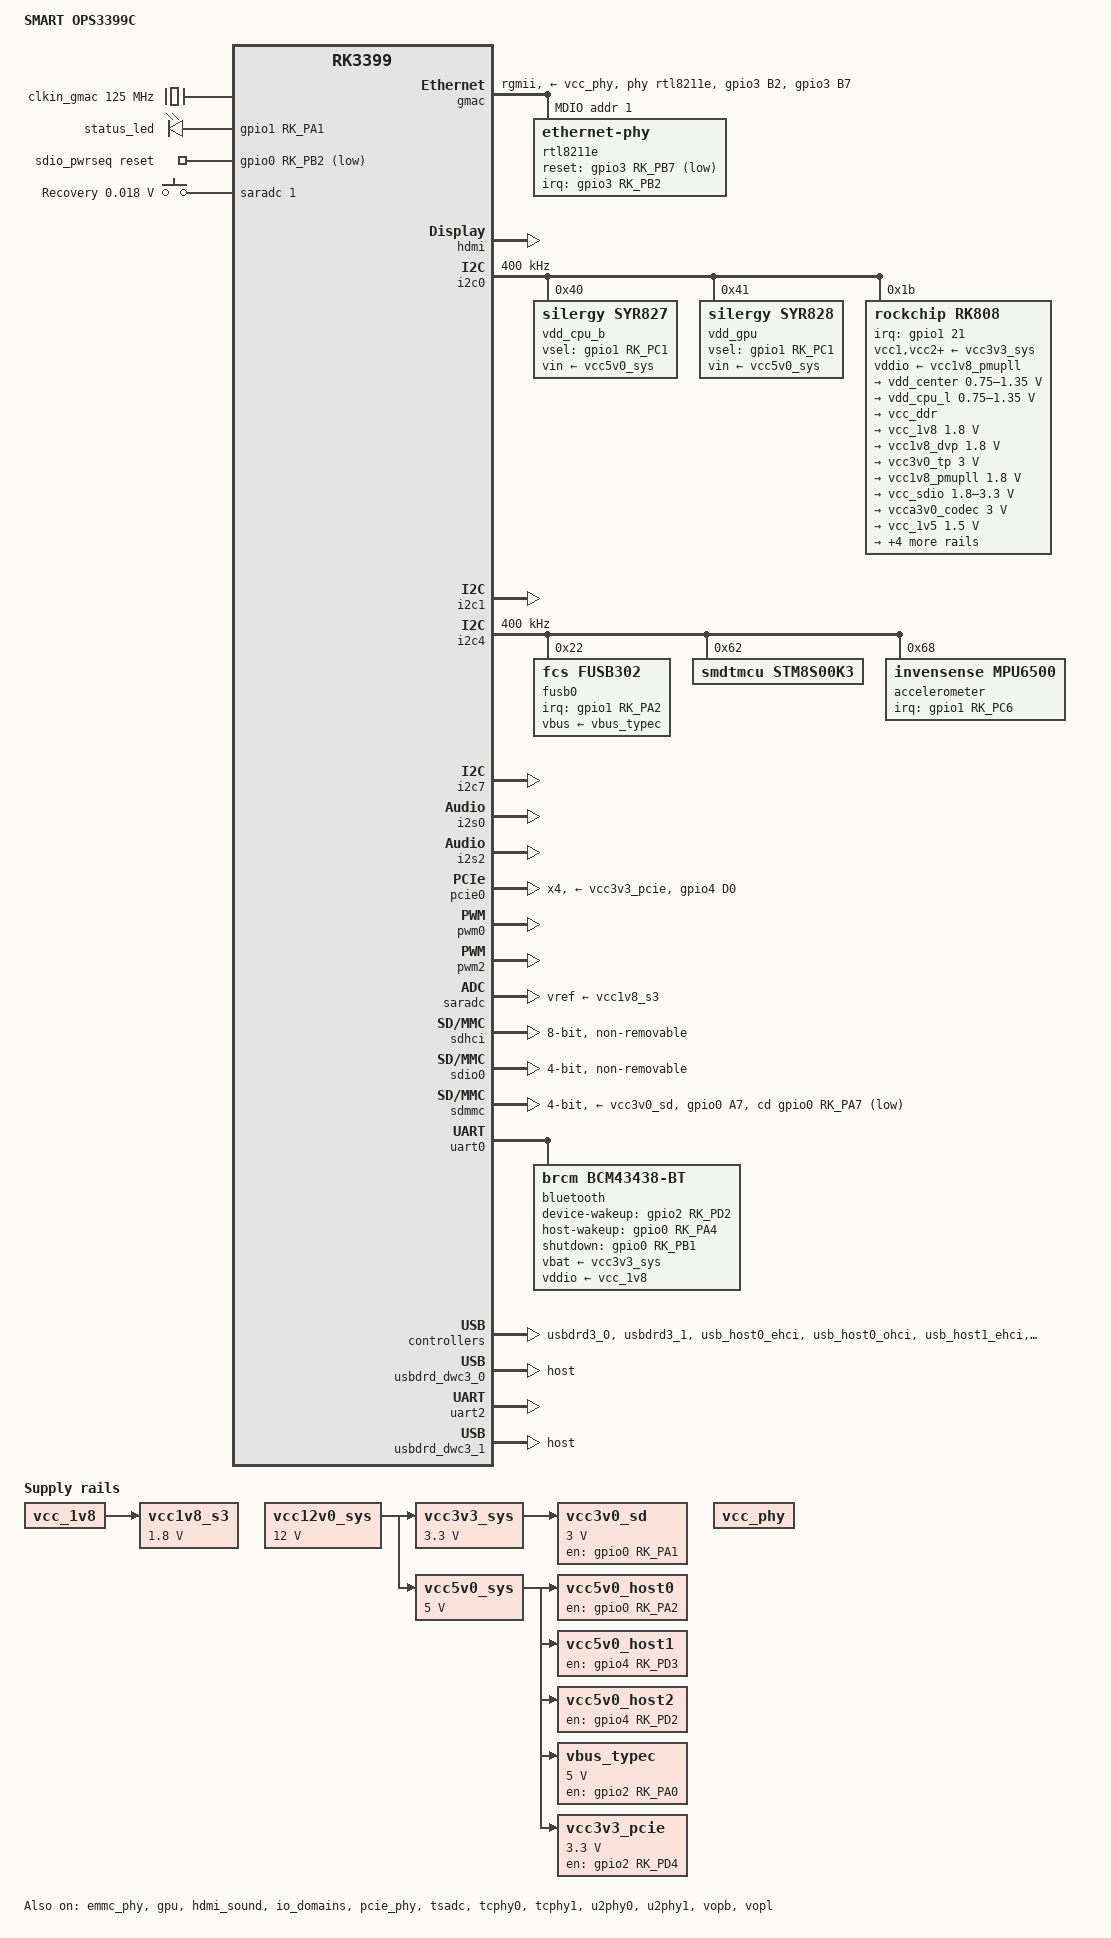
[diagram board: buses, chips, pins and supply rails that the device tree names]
// SPDX-License-Identifier: (GPL-2.0+ OR MIT)

/dts-v1/;
#include <dt-bindings/input/linux-event-codes.h>
#include "rk3399.dtsi"

/ {
	model = "SMART OPS3399C";
	compatible = "SMART,OPS3399C", "rockchip,rk3399";
	
	aliases {
		ethernet0 = &gmac;
		mmc0 = &sdio0;
		mmc1 = &sdmmc;
		mmc2 = &sdhci;
	};

	chosen {
		stdout-path = "serial2:1500000n8";
	};

	clkin_gmac: external-gmac-clock {
		compatible = "fixed-clock";
		clock-frequency = <125000000>;
		clock-output-names = "clkin_gmac";
		#clock-cells = <0>;
	};
	
	vcc12v0_sys: regulator-vcc12v0-sys {
		compatible = "regulator-fixed";
		regulator-always-on;
		regulator-boot-on;
		regulator-max-microvolt = <12000000>;
		regulator-min-microvolt = <12000000>;
		regulator-name = "vcc12v0_sys";
	};

  vcc5v0_host0: vcc5v0-host-regulator1 {
		compatible = "regulator-fixed";
		enable-active-high;
		gpio = <&gpio0 RK_PA2 GPIO_ACTIVE_HIGH>;
		pinctrl-names = "default";
		pinctrl-0 = <&usb_host0_en>;
		regulator-name = "vcc5v0_host";
		regulator-always-on;
		vin-supply = <&vcc5v0_sys>;
	};


	vcc5v0_host1: vcc5v0-host-regulator2 {
		compatible = "regulator-fixed";
		enable-active-high;
		gpio = <&gpio4 RK_PD3 GPIO_ACTIVE_HIGH>;
		pinctrl-names = "default";
		pinctrl-0 = <&usb_host1_en>;
		regulator-name = "vcc5v0_host";
		regulator-always-on;
		vin-supply = <&vcc5v0_sys>;
	};
  
  vcc5v0_host2: vcc5v0-host-regulator0 {
		compatible = "regulator-fixed";
		enable-active-high;
		gpio = <&gpio4 RK_PD2 GPIO_ACTIVE_HIGH>;
		pinctrl-names = "default";
		pinctrl-0 = <&usb_host2_en>;
		regulator-name = "vcc5v0_host";
		regulator-always-on;
		vin-supply = <&vcc5v0_sys>;
	};

	vcc3v3_sys: regulator-vcc3v3-sys {
		compatible = "regulator-fixed";
		regulator-always-on;
		regulator-boot-on;
		regulator-min-microvolt = <3300000>;
		regulator-max-microvolt = <3300000>;
		vin-supply = <&vcc12v0_sys>;
		regulator-name = "vcc3v3_sys";
	};

	vcc5v0_sys: regulator-vcc5v0-sys {
		compatible = "regulator-fixed";
		regulator-always-on;
		regulator-boot-on;
		regulator-min-microvolt = <5000000>;
		regulator-max-microvolt = <5000000>;
		regulator-name = "vcc5v0_sys";
		vin-supply = <&vcc12v0_sys>;
	};
	
	/* switched by pmic_sleep */
	vcc1v8_s3: regulator-vcc1v8-s3 {
		compatible = "regulator-fixed";
		regulator-always-on;
		regulator-boot-on;
		regulator-min-microvolt = <1800000>;
		regulator-max-microvolt = <1800000>;
		regulator-name = "vcc1v8_s3";
		vin-supply = <&vcc_1v8>;
	};

	vcc3v0_sd: regulator-vcc3v0-sd {
		compatible = "regulator-fixed";
		enable-active-high;
		gpios = <&gpio0 RK_PA1 GPIO_ACTIVE_HIGH>;
		pinctrl-names = "default";
		regulator-always-on;
		regulator-min-microvolt = <3000000>;
		regulator-max-microvolt = <3000000>;
		pinctrl-0 = <&vcc_sd_h>;
		regulator-name = "vcc3v0_sd";
		vin-supply = <&vcc3v3_sys>;
	};
	
	vcc_phy: regulator-vcc-phy {
		compatible = "regulator-fixed";
		regulator-name = "vcc_phy";
		regulator-always-on;
		regulator-boot-on;
	};

	vbus_typec: regulator-vbus-typec {
		compatible = "regulator-fixed";
		regulator-min-microvolt = <5000000>;
		regulator-max-microvolt = <5000000>;
		enable-active-high;
		gpios = <&gpio2 RK_PA0 GPIO_ACTIVE_HIGH>;
		pinctrl-0 = <&otg_vbus_en>;
		vin-supply = <&vcc5v0_sys>;
		regulator-name = "vbus_typec";
	};

	vcc3v3_pcie: regulator-vcc3v3-pcie {
		compatible = "regulator-fixed";
		enable-active-high;
		gpio = <&gpio2 RK_PD4 GPIO_ACTIVE_HIGH>;
		pinctrl-names = "default";
		pinctrl-0 = <&vcc3v3_pcie_en>;
		regulator-name = "vcc3v3_pcie";
		regulator-always-on;
		regulator-boot-on;
		regulator-min-microvolt = <3300000>;
		regulator-max-microvolt = <3300000>;
		vin-supply = <&vcc5v0_sys>;
	};

	leds: gpio-leds {
		compatible = "gpio-leds";
		pinctrl-names = "default";
		pinctrl-0 = <&status_led_pin>;

		status_led: led-0 {
			gpios = <&gpio1 RK_PA1 GPIO_ACTIVE_HIGH>;
			label = "status_led";
			linux,default-trigger = "heartbeat";
		};
	};

	sdio_pwrseq: sdio-pwrseq {
		compatible = "mmc-pwrseq-simple";
		clocks = <&rk808 1>;
		clock-names = "ext_clock";
		pinctrl-names = "default";
		pinctrl-0 = <&wifi_reg_on_h>;
		reset-gpios = <&gpio0 RK_PB2 GPIO_ACTIVE_LOW>;
	};
	
	adc-keys {
		compatible = "adc-keys";
		io-channels = <&saradc 1>;
		io-channel-names = "buttons";
		keyup-threshold-microvolt = <1800000>;
		poll-interval = <100>;

		button-recovery {
			label = "Recovery";
			linux,code = <KEY_VENDOR>;
			press-threshold-microvolt = <18000>;
		};
	};
};

&cpu_thermal {
	trips {
		cpu_warm: cpu_warm {
			temperature = <55000>;
			hysteresis = <2000>;
			type = "active";
		};

		cpu_hot: cpu_hot {
			temperature = <65000>;
			hysteresis = <2000>;
			type = "active";
		};
	};
};

&cpu_b0 {
	cpu-supply = <&vdd_cpu_b>;
};

&cpu_b1 {
	cpu-supply = <&vdd_cpu_b>;
};

&cpu_l0 {
	cpu-supply = <&vdd_cpu_l>;
};

&cpu_l1 {
	cpu-supply = <&vdd_cpu_l>;
};

&cpu_l2 {
	cpu-supply = <&vdd_cpu_l>;
};

&cpu_l3 {
	cpu-supply = <&vdd_cpu_l>;
};

&emmc_phy {
	rockchip,enable-strobe-pulldown;
	status = "okay";
};

&gmac {
	assigned-clock-parents = <&clkin_gmac>;
	assigned-clocks = <&cru SCLK_RMII_SRC>;
	clock_in_out = "input";
	pinctrl-names = "default";
	pinctrl-0 = <&rgmii_pins>, <&phy_intb>, <&phy_rstb>;
	phy-handle = <&rtl8211e>;
	phy-mode = "rgmii";
	phy-supply = <&vcc_phy>;
	tx_delay = <0x28>;
	rx_delay = <0x11>;
	status = "okay";

	mdio {
		compatible = "snps,dwmac-mdio";
		#address-cells = <1>;
		#size-cells = <0>;

		rtl8211e: ethernet-phy@1 {
			reg = <1>;
			interrupt-parent = <&gpio3>;
			interrupts = <RK_PB2 IRQ_TYPE_LEVEL_LOW>;
			reset-assert-us = <10000>;
			reset-deassert-us = <30000>;
			reset-gpios = <&gpio3 RK_PB7 GPIO_ACTIVE_LOW>;
		};
	};
};

&gpu {
	mali-supply = <&vdd_gpu>;
	status = "okay";
};

&hdmi {
        pinctrl-names = "default";
        pinctrl-0 = <&hdmi_i2c_xfer>, <&hdmi_cec>;
        status = "okay";
};



&hdmi_sound {
	status = "okay";
};


&i2c0 {
	clock-frequency = <400000>;
	i2c-scl-rising-time-ns = <160>;
	i2c-scl-falling-time-ns = <30>;
	status = "okay";

	vdd_cpu_b: regulator@40 {
		compatible = "silergy,syr827";
		reg = <0x40>;
		fcs,suspend-voltage-selector = <1>;
		pinctrl-names = "default";
		pinctrl-0 = <&cpu_b_sleep>;
		vsel-gpios = <&gpio1 RK_PC1 GPIO_ACTIVE_HIGH>;
		regulator-always-on;
		regulator-boot-on;
		regulator-min-microvolt = <712500>;
		regulator-max-microvolt = <1500000>;
		regulator-name = "vdd_cpu_b";
		regulator-ramp-delay = <1000>;
		vin-supply = <&vcc5v0_sys>;

		regulator-state-mem {
			regulator-off-in-suspend;
		};
	};

	vdd_gpu: regulator@41 {
		compatible = "silergy,syr828";
		reg = <0x41>;
		fcs,suspend-voltage-selector = <1>;
		pinctrl-names = "default";
		pinctrl-0 = <&gpu_sleep>;
		vsel-gpios = <&gpio1 RK_PC1 GPIO_ACTIVE_HIGH>;
		regulator-always-on;
		regulator-boot-on;
		regulator-min-microvolt = <712500>;
		regulator-max-microvolt = <1500000>;
		regulator-name = "vdd_gpu";
		regulator-ramp-delay = <1000>;
		vin-supply = <&vcc5v0_sys>;

		regulator-state-mem {
			regulator-off-in-suspend;
		};
	};

	rk808: pmic@1b {
		compatible = "rockchip,rk808";
		reg = <0x1b>;
		clock-output-names = "xin32k", "k808-clkout2";
		#clock-cells = <1>;
		interrupt-parent = <&gpio1>;
		interrupts = <21 IRQ_TYPE_LEVEL_LOW>;
		pinctrl-names = "default";
		pinctrl-0 = <&pmic_int_l>, <&pmic_dvs2>;
		system-power-controller;
		wakeup-source;

		vcc1-supply = <&vcc3v3_sys>;
		vcc2-supply = <&vcc3v3_sys>;
		vcc3-supply = <&vcc3v3_sys>;
		vcc4-supply = <&vcc3v3_sys>;
		vcc6-supply = <&vcc3v3_sys>;
		vcc7-supply = <&vcc3v3_sys>;
		vcc8-supply = <&vcc3v3_sys>;
		vcc9-supply = <&vcc3v3_sys>;
		vcc10-supply = <&vcc3v3_sys>;
		vcc11-supply = <&vcc3v3_sys>;
		vcc12-supply = <&vcc3v3_sys>;
		vddio-supply = <&vcc1v8_pmupll>;

		regulators {
			vdd_center: DCDC_REG1 {
				regulator-always-on;
				regulator-boot-on;
				regulator-min-microvolt = <750000>;
				regulator-max-microvolt = <1350000>;
				regulator-name = "vdd_center";
				regulator-ramp-delay = <6001>;

				regulator-state-mem {
					regulator-off-in-suspend;
				};
			};

			vdd_cpu_l: DCDC_REG2 {
				regulator-always-on;
				regulator-boot-on;
				regulator-min-microvolt = <750000>;
				regulator-max-microvolt = <1350000>;
				regulator-name = "vdd_cpu_l";
				regulator-ramp-delay = <6001>;

				regulator-state-mem {
					regulator-off-in-suspend;
				};
			};

			vcc_ddr: DCDC_REG3 {
				regulator-always-on;
				regulator-boot-on;
				regulator-name = "vcc_ddr";

				regulator-state-mem {
					regulator-on-in-suspend;
				};
			};

			vcc_1v8: DCDC_REG4 {
				regulator-always-on;
				regulator-boot-on;
				regulator-min-microvolt = <1800000>;
				regulator-max-microvolt = <1800000>;
				regulator-name = "vcc_1v8";

				regulator-state-mem {
					regulator-on-in-suspend;
					regulator-suspend-microvolt = <1800000>;
				};
			};

			vcc1v8_dvp: LDO_REG1 {
				regulator-always-on;
				regulator-boot-on;
				regulator-min-microvolt = <1800000>;
				regulator-max-microvolt = <1800000>;
				regulator-name = "vcc1v8_dvp";

				regulator-state-mem {
					regulator-off-in-suspend;
				};
			};

			vcc3v0_tp: LDO_REG2 {
				regulator-always-on;
				regulator-boot-on;
				regulator-min-microvolt = <3000000>;
				regulator-max-microvolt = <3000000>;
				regulator-name = "vcc3v0_tp";

				regulator-state-mem {
					regulator-off-in-suspend;
				};
			};

			vcc1v8_pmupll: LDO_REG3 {
				regulator-always-on;
				regulator-boot-on;
				regulator-min-microvolt = <1800000>;
				regulator-max-microvolt = <1800000>;
				regulator-name = "vcc1v8_pmupll";

				regulator-state-mem {
					regulator-on-in-suspend;
					regulator-suspend-microvolt = <1800000>;
				};
			};

			vcc_sdio: LDO_REG4 {
				regulator-always-on;
				regulator-boot-on;
				regulator-min-microvolt = <1800000>;
				regulator-max-microvolt = <3300000>;
				regulator-name = "vcc_sdio";

				regulator-state-mem {
					regulator-on-in-suspend;
					regulator-suspend-microvolt = <3000000>;
				};
			};

			vcca3v0_codec: LDO_REG5 {
				regulator-always-on;
				regulator-boot-on;
				regulator-min-microvolt = <3000000>;
				regulator-max-microvolt = <3000000>;
				regulator-name = "vcca3v0_codec";

				regulator-state-mem {
					regulator-off-in-suspend;
				};
			};

			vcc_1v5: LDO_REG6 {
				regulator-always-on;
				regulator-boot-on;
				regulator-min-microvolt = <1500000>;
				regulator-max-microvolt = <1500000>;
				regulator-name = "vcc_1v5";

				regulator-state-mem {
					regulator-on-in-suspend;
					regulator-suspend-microvolt = <1500000>;
				};
			};

			vcca1v8_codec: LDO_REG7 {
				regulator-always-on;
				regulator-boot-on;
				regulator-min-microvolt = <1800000>;
				regulator-max-microvolt = <1800000>;
				regulator-name = "vcca1v8_codec";

				regulator-state-mem {
					regulator-off-in-suspend;
				};
			};

			vcc_3v0: LDO_REG8 {
				regulator-always-on;
				regulator-boot-on;
				regulator-min-microvolt = <3000000>;
				regulator-max-microvolt = <3000000>;
				regulator-name = "vcc_3v0";

				regulator-state-mem {
					regulator-on-in-suspend;
					regulator-suspend-microvolt = <3000000>;
				};
			};

			vcc3v3_s3: SWITCH_REG1 {
				regulator-always-on;
				regulator-boot-on;
				regulator-name = "vcc3v3_s3";

				regulator-state-mem {
					regulator-off-in-suspend;
				};
			};

			vcc3v3_s0: SWITCH_REG2 {
				regulator-always-on;
				regulator-boot-on;
				regulator-name = "vcc3v3_s0";

				regulator-state-mem {
					regulator-off-in-suspend;
				};
			};
		};
	};
};

&i2c1 {
	i2c-scl-rising-time-ns = <300>;
	i2c-scl-falling-time-ns = <15>;
	status = "okay";
};

&i2c4 {
	clock-frequency = <400000>;
	i2c-scl-rising-time-ns = <160>;
	i2c-scl-falling-time-ns = <30>;
	status = "okay";

	fusb0: typec-portc@22 {
		compatible = "fcs,fusb302";
		reg = <0x22>;
		interrupt-parent = <&gpio1>;
		interrupts = <RK_PA2 IRQ_TYPE_LEVEL_LOW>;
		pinctrl-names = "default";
		pinctrl-0 = <&fusb0_int>;
		vbus-supply = <&vbus_typec>;
	};

	smdtmcu@62 {
		compatible = "smdtmcu,STM8S00K3";
		reg = <0x62>;
		status = "okay";
	};

	accelerometer@68 {
		compatible = "invensense,mpu6500";
		reg = <0x68>;
		interrupt-parent = <&gpio1>;
		interrupts = <RK_PC6 IRQ_TYPE_EDGE_RISING>;
	};
};

&i2c7 {
	status = "okay";
};

&i2s0 {
	rockchip,playback-channels = <8>;
	rockchip,capture-channels = <8>;
	status = "okay";
};

&i2s2 {
	status = "okay";
};

&io_domains {
	bt656-supply = <&vcc_3v0>;
	audio-supply = <&vcca1v8_codec>;
	sdmmc-supply = <&vcc_sdio>;
	gpio1830-supply = <&vcc_3v0>;
	status = "okay";
};

&pcie_phy {
        status = "okay";
};

&pcie0 {
	ep-gpios = <&gpio1 RK_PC7 GPIO_ACTIVE_HIGH>;
	num-lanes = <4>;
	pinctrl-0 = <&pcie_clkreqn>;
	pinctrl-names = "default";
	vpcie3v3-supply = <&vcc3v3_pcie>;
	status = "okay";
};


&pinctrl {
	fusb30x {
		fusb0_int: fusb0-int {
			rockchip,pins = <1 RK_PA2 RK_FUNC_GPIO &pcfg_pull_up>;
		};
	};
  
  vcc_sd {
			vcc_sd_h: vcc-sd-h {
				rockchip,pins = <0 RK_PA1 RK_FUNC_GPIO &pcfg_pull_up>;
			};
		};

	gpio-leds {
		status_led_pin: status-led-pin {
			rockchip,pins = <1 RK_PA1 RK_FUNC_GPIO &pcfg_pull_none>;
		};
	};

	gmac {
		phy_intb: phy-intb {
			rockchip,pins = <3 RK_PB2 RK_FUNC_GPIO &pcfg_pull_up>;
		};

		phy_rstb: phy-rstb {
			rockchip,pins = <3 RK_PB7 RK_FUNC_GPIO &pcfg_pull_none>;
		};
	};

	pmic {
		cpu_b_sleep: cpu-b-sleep {
			rockchip,pins = <1 RK_PC1 RK_FUNC_GPIO &pcfg_pull_down>;
		};

		gpu_sleep: gpu-sleep {
			rockchip,pins = <1 RK_PB6 RK_FUNC_GPIO &pcfg_pull_down>;
		};

		pmic_int_l: pmic-int-l {
			rockchip,pins = <1 RK_PC5 RK_FUNC_GPIO &pcfg_pull_up>;
		};
		
		pmic_dvs2: pmic-dvs2 {
			rockchip,pins = <1 RK_PC2 RK_FUNC_GPIO &pcfg_pull_down>;
		};
	};

	sdio {
		bt_host_wake_l: bt-host-wake-l {
			rockchip,pins = <0 RK_PA4 RK_FUNC_GPIO &pcfg_pull_none>;
		};

		bt_reg_on_h: bt-reg-on-h {
			/* external pullup to VCC1V8_PMUPLL */
			rockchip,pins = <0 RK_PB1 RK_FUNC_GPIO &pcfg_pull_none>;
		};

		bt_wake_l: bt-wake-l {
			rockchip,pins = <2 RK_PD2 RK_FUNC_GPIO &pcfg_pull_none>;
		};

		wifi_reg_on_h: wifi-reg_on-h {
			rockchip,pins = <0 RK_PB2 RK_FUNC_GPIO &pcfg_pull_none>;
		};
	};

	sdmmc {
		sdmmc0_det_l: sdmmc0-det-l {
			rockchip,pins = <0 RK_PA7 RK_FUNC_GPIO &pcfg_pull_up>;
		};
	};
	
	pcie {
		pcie_clkreqn: pcie-clkreqn {
			rockchip,pins = <4 RK_PD0 2 &pcfg_pull_none>;
		};

		vcc3v3_pcie_en: vcc3v3-pcie-en {
			rockchip,pins = <2 RK_PD4 RK_FUNC_GPIO &pcfg_pull_none>;
		};
	};
	
	usb2 {
		usb_host0_en: usb-host0-en {
				rockchip,pins = <0 RK_PA2 RK_FUNC_GPIO &pcfg_pull_none>;
			};
      
    usb_host1_en: usb-host1-en {
				rockchip,pins = <4 RK_PD3 RK_FUNC_GPIO &pcfg_pull_none>;
			};

		usb_host2_en: usb-host2-en {
				rockchip,pins = <4 RK_PD2 RK_FUNC_GPIO &pcfg_pull_none>;
			};
		
		otg_vbus_en: otg-vbus-en {
				rockchip,pins = <2 RK_PA0 RK_FUNC_GPIO &pcfg_pull_none>;
			};
	};
};

&pmu_io_domains {
	pmu1830-supply = <&vcc_3v0>;
	status = "okay";
};

&pwm0 {
	status = "okay";
};

&pwm2 {
	status = "okay";
};

&saradc {
	vref-supply = <&vcc1v8_s3>;
	status = "okay";
};

&sdhci {
	bus-width = <8>;
	mmc-hs200-1_8v;
	non-removable;
	mmc-hs400-1_8v;
	mmc-hs400-enhanced-strobe;
	status = "okay";
};

&sdio0 {
	bus-width = <4>;
	cap-sd-highspeed;
	cap-sdio-irq;
	keep-power-in-suspend;
	mmc-pwrseq = <&sdio_pwrseq>;
	non-removable;
	pinctrl-names = "default";
	pinctrl-0 = <&sdio0_bus4 &sdio0_cmd &sdio0_clk>;
	sd-uhs-sdr104;
	status = "okay";
};

&sdmmc {
	bus-width = <4>;
	cap-sd-highspeed;
	cap-mmc-highspeed;
	cd-gpios = <&gpio0 RK_PA7 GPIO_ACTIVE_LOW>;
	disable-wp;
	max-frequency = <150000000>;
	pinctrl-names = "default";
	pinctrl-0 = <&sdmmc_bus4 &sdmmc_clk &sdmmc_cmd &sdmmc0_det_l>;
	sd-uhs-sdr104;
	vmmc-supply = <&vcc3v0_sd>;
	vqmmc-supply = <&vcc_sdio>;
	status = "okay";
};

&uart0 {
	pinctrl-names = "default";
	pinctrl-0 = <&uart0_xfer &uart0_rts &uart0_cts>;
	status = "okay";

	bluetooth {
		compatible = "brcm,bcm43438-bt";
		clocks = <&rk808 1>;
		clock-names = "lpo";
		device-wakeup-gpios = <&gpio2 RK_PD2 GPIO_ACTIVE_HIGH>;
		host-wakeup-gpios = <&gpio0 RK_PA4 GPIO_ACTIVE_HIGH>;
		shutdown-gpios = <&gpio0 RK_PB1 GPIO_ACTIVE_HIGH>;
		max-speed = <4000000>;
		pinctrl-names = "default";
		pinctrl-0 = <&bt_reg_on_h &bt_host_wake_l &bt_wake_l>;
		vbat-supply = <&vcc3v3_sys>;
		vddio-supply = <&vcc_1v8>;
	};
};

&tsadc {
	/* tshut mode 0:CRU 1:GPIO */
	rockchip,hw-tshut-mode = <1>;
	/* tshut polarity 0:LOW 1:HIGH */
	rockchip,hw-tshut-polarity = <1>;
	status = "okay";
};

&tcphy0 {
        status = "okay";
};
/*
dp
*/

&tcphy1 {
        status = "okay";
};


&u2phy0 {
        status = "okay";
		u2phy0_otg: otg-port {
                status = "okay";
        };

        u2phy0_host: host-port {
                phy-supply = <&vcc5v0_host0>;
                status = "okay";
        };
};

&u2phy1 {
        status = "okay";

        u2phy1_otg: otg-port {
                status = "okay";
        };

        u2phy1_host: host-port {
                phy-supply = <&vcc5v0_sys>;
                status = "okay";
        };
};

&usbdrd3_0 {
	status = "okay";
};

&usbdrd_dwc3_0 {
	dr_mode = "host";
	status = "okay";
};

&uart2 {
	status = "okay";
};

&usbdrd3_1 {
	status = "okay";
};

&usbdrd_dwc3_1 {
	dr_mode = "host";
	status = "okay";
};

&usb_host0_ehci {
	status = "okay";
};

&usb_host0_ohci {
	status = "okay";
};

&usb_host1_ehci {
	status = "okay";
};

&usb_host1_ohci {
	status = "okay";
};

&vopb {
	status = "okay";
};

&vopb_mmu {
	status = "okay";
};

&vopl {
	status = "okay";
};

&vopl_mmu {
	status = "okay";
};

